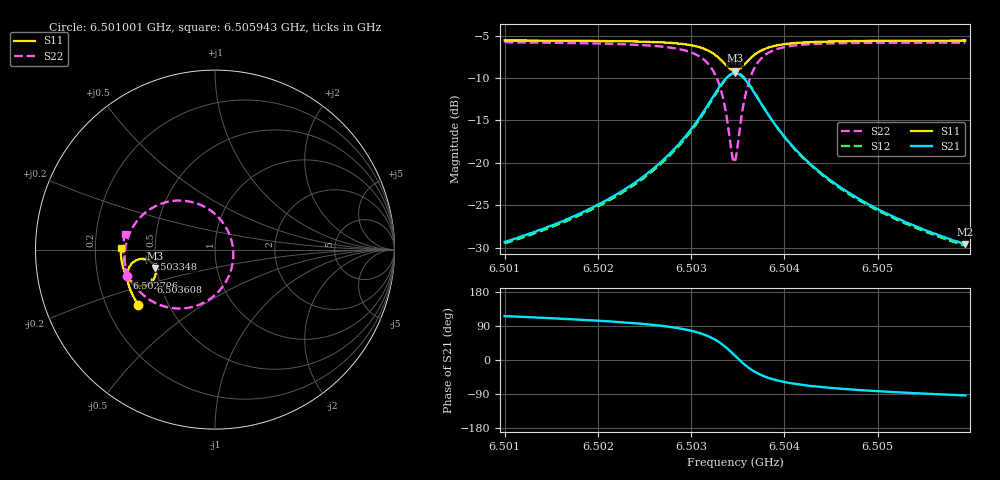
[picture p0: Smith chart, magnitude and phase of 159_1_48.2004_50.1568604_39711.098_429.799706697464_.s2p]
#  HZ  S  RI  R  50.00
! Rohde & Schwarz Vector Network Analyzer
! Rohde-Schwarz,ZNB20-2Port,1311601062101988,3.16
! Created: UTC 3/20/2024, 11:43:08 AM
! freq[Hz]  re:S11  im:S11  re:S21  im:S21  re:S12  im:S12  re:S22  im:S22
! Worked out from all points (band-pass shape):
!   401 points, 6.501001 GHz to 6.505943 GHz, reference 50 ohm
!   highest |S21| = -9.43 dB at 6.503472 GHz (marker M1); lowest = -29.6 dB at 6.505943 GHz (marker M2)
!   |S21| within 3 dB of the highest: 6.503224 GHz to 6.503719 GHz (494.6 kHz wide, 0.00761 % of centre)
!   lowest |S11| = -9.1 dB at 6.503472 GHz (marker M3), VSWR 2.07, Z = 24.5 - j5.85 ohm
!   |S11| at or under -10 dB: nowhere
!   |S22| runs from -19.9 to -5.8 dB; largest |S21 - S12| = 0.012
!   S11 on the Smith chart (normalised r, x): 6.501001 GHz: 0.34, -0.29; 6.502706 GHz: 0.33, -0.14; 6.503348 GHz: 0.44, -0.06; 6.503608 GHz: 0.45, -0.19; 6.505943 GHz: 0.31, +0.01
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6.5010009e9  -0.4286 -0.3059  -0.0148 0.0306  -0.0131 0.0308  -0.4916 -0.149
6.5018287e9  -0.4637 -0.2442  -0.0141 0.0487  -0.0116 0.0484  -0.504 -0.0599
6.5022981e9  -0.48 -0.202  -0.0109 0.0695  -0.00787 0.0681  -0.4997 0.00832
6.5026564e9  -0.488 -0.1618  -0.00169 0.0985  0.00211 0.0962  -0.4797 0.0818
6.5027058e9  -0.4886 -0.1551  0.000716 0.1043  0.00455 0.1016  -0.4743 0.0947
6.5029282e9  -0.4858 -0.1206  0.0217 0.1386  0.0254 0.1346  -0.4305 0.1644
6.5031011e9  -0.4706 -0.0862  0.0627 0.1771  0.0657 0.1712  -0.3501 0.2323
6.5032494e9  -0.4331 -0.0566  0.1443 0.2058  0.1452 0.1994  -0.2012 0.2733
6.5033482e9  -0.3868 -0.0537  0.2356 0.189  0.2357 0.1841  -0.0432 0.23
6.5034347e9  -0.3443 -0.0826  0.3136 0.1146  0.3159 0.11  0.0811 0.083
6.5034594e9  -0.3361 -0.0969  0.3267 0.0828  0.3299 0.0776  0.098 0.0231
6.5034717e9  -0.3335 -0.1046  0.3311 0.0659  0.3345 0.0602  0.1014 -0.00834
6.5034965e9  -0.3305 -0.1208  0.3344 0.0313  0.3381 0.0243  0.0987 -0.0716
6.5035335e9  -0.3328 -0.1447  0.327 -0.0186  0.3303 -0.0277  0.0712 -0.1599
6.5036076e9  -0.3549 -0.1815  0.2804 -0.0945  0.2801 -0.106  -0.0387 -0.2821
6.5037188e9  -0.4003 -0.2013  0.1939 -0.1396  0.1883 -0.1493  -0.2142 -0.3281
6.5038794e9  -0.4472 -0.1917  0.1103 -0.1357  0.1031 -0.1409  -0.3648 -0.2794
6.5040524e9  -0.4751 -0.1704  0.0647 -0.1149  0.0585 -0.1172  -0.4379 -0.213
6.5042995e9  -0.4959 -0.1404  0.0345 -0.0898  0.0295 -0.0903  -0.4819 -0.1396
6.5046701e9  -0.5115 -0.1014  0.0152 -0.0659  0.0117 -0.0656  -0.5044 -0.0643
6.5051272e9  -0.521 -0.0588  0.00519 -0.0491  0.00283 -0.0484  -0.5106 0.00178
6.5059426e9  -0.526 0.0106  -0.00211 -0.0329  -0.00342 -0.032  -0.5031 0.0892
